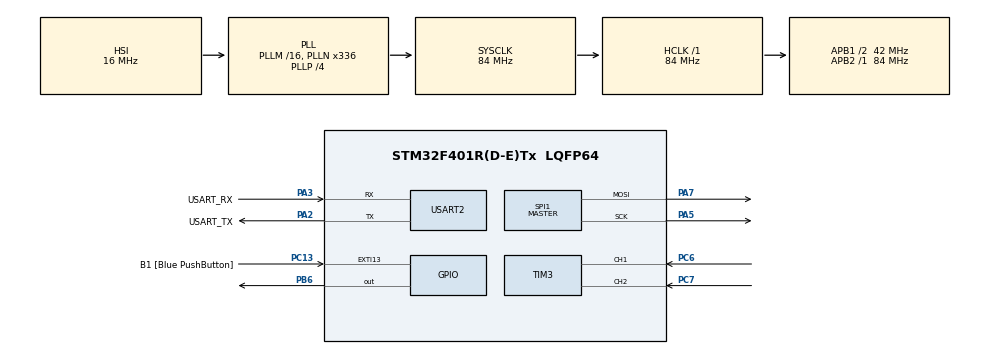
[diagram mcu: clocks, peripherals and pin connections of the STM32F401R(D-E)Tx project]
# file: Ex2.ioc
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Dma.Request0=SPI1_TX
Dma.SPI1_TX.0.Direction=DMA_MEMORY_TO_PERIPH
Dma.SPI1_TX.0.FIFOMode=DMA_FIFOMODE_DISABLE
Dma.SPI1_TX.0.Instance=DMA2_Stream3
Dma.SPI1_TX.0.MemDataAlignment=DMA_MDATAALIGN_BYTE
Dma.SPI1_TX.0.MemInc=DMA_MINC_ENABLE
Dma.SPI1_TX.0.Mode=DMA_NORMAL
Dma.SPI1_TX.0.PeriphDataAlignment=DMA_PDATAALIGN_BYTE
Dma.SPI1_TX.0.PeriphInc=DMA_PINC_DISABLE
Dma.SPI1_TX.0.Priority=DMA_PRIORITY_LOW
Mcu.Family=STM32F4
Mcu.Name=STM32F401R(D-E)Tx
Mcu.Package=LQFP64
NVIC.DMA2_Stream3_IRQn=true\:0\:0\:false\:false\:true\:false\:true\:true
NVIC.PriorityGroup=NVIC_PRIORITYGROUP_0
NVIC.TIM1_TRG_COM_TIM11_IRQn=true\:0\:1\:false\:false\:true\:true\:true\:true
NVIC.TIM1_UP_TIM10_IRQn=true\:0\:0\:false\:false\:true\:true\:true\:true
PA13.GPIO_Label=TMS
PA13.Mode=Serial_Wire
PA13.Signal=SYS_JTMS-SWDIO
PA14.GPIO_Label=TCK
PA14.Mode=Serial_Wire
PA14.Signal=SYS_JTCK-SWCLK
PA2.GPIO_Label=USART_TX
PA2.GPIO_Mode=GPIO_MODE_AF_PP
PA2.GPIO_PuPd=GPIO_NOPULL
PA2.GPIO_Speed=GPIO_SPEED_FREQ_LOW
PA2.Mode=Asynchronous
PA2.Signal=USART2_TX
PA3.GPIO_Label=USART_RX
PA3.GPIO_Mode=GPIO_MODE_AF_PP
PA3.GPIO_PuPd=GPIO_NOPULL
PA3.GPIO_Speed=GPIO_SPEED_FREQ_LOW
PA3.Mode=Asynchronous
PA3.Signal=USART2_RX
PA5.Mode=TX_Only_Simplex_Unidirect_Master
PA5.Signal=SPI1_SCK
PA7.Mode=TX_Only_Simplex_Unidirect_Master
PA7.Signal=SPI1_MOSI
PB3.GPIO_Label=SWO
PB3.Signal=SYS_JTDO-SWO
PB6.Signal=GPIO_Output
PC13-ANTI_TAMP.GPIO_Label=B1 [Blue PushButton]
PC13-ANTI_TAMP.GPIO_ModeDefaultEXTI=GPIO_MODE_IT_FALLING
PC13-ANTI_TAMP.GPIO_PuPd=GPIO_NOPULL
PC13-ANTI_TAMP.Signal=GPXTI13
PC14-OSC32_IN.Mode=LSE-External-Oscillator
PC14-OSC32_IN.Signal=RCC_OSC32_IN
PC15-OSC32_OUT.Mode=LSE-External-Oscillator
PC15-OSC32_OUT.Signal=RCC_OSC32_OUT
PC6.Signal=S_TIM3_CH1
PC7.Signal=S_TIM3_CH2
PH0\ -\ OSC_IN.Mode=HSE-External-Clock-Source
PH0\ -\ OSC_IN.Signal=RCC_OSC_IN
PH1\ -\ OSC_OUT.Mode=HSE-External-Clock-Source
PH1\ -\ OSC_OUT.Signal=RCC_OSC_OUT
ProjectManager.HeapSize=0x200
ProjectManager.StackSize=0x400
ProjectManager.TargetToolchain=STM32CubeIDE
RCC.48MHZClocksFreq_Value=48000000
RCC.AHBFreq_Value=84000000
RCC.APB1CLKDivider=RCC_HCLK_DIV2
RCC.APB1Freq_Value=42000000
RCC.APB1TimFreq_Value=84000000
RCC.APB2Freq_Value=84000000
RCC.APB2TimFreq_Value=84000000
RCC.CortexFreq_Value=84000000
RCC.HCLKFreq_Value=84000000
RCC.HSE_VALUE=8000000
RCC.HSI_VALUE=16000000
RCC.PLLN=336
RCC.PLLP=RCC_PLLP_DIV4
RCC.PLLQ=7
RCC.SYSCLKFreq_VALUE=84000000
RCC.SYSCLKSource=RCC_SYSCLKSOURCE_PLLCLK
RCC.VCOOutputFreq_Value=336000000
SH.S_TIM3_CH1.0=TIM3_CH1,Encoder_Interface
SH.S_TIM3_CH2.0=TIM3_CH2,Encoder_Interface
SPI1.BaudRatePrescaler=SPI_BAUDRATEPRESCALER_4
SPI1.Direction=SPI_DIRECTION_2LINES
SPI1.Mode=SPI_MODE_MASTER
SPI1.VirtualType=VM_MASTER
TIM10.Period=4000-1
TIM10.Prescaler=84-1
TIM11.Period=10000-1
TIM11.Prescaler=8400-1
USART2.VirtualMode=VM_ASYNC
VP_TIM10_VS_ClockSourceINT.Mode=Enable_Timer
VP_TIM11_VS_ClockSourceINT.Mode=Enable_Timer
board=NUCLEO-F401RE

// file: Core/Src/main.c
/* USER CODE BEGIN Header */
/**
  ******************************************************************************
  * @file           : main.c
  * @brief          : Main program body
  ******************************************************************************
  * @attention
  *
  * Copyright (c) 2023 STMicroelectronics.
  * All rights reserved.
  *
  * This software is licensed under terms that can be found in the LICENSE file
  * in the root directory of this software component.
  * If no LICENSE file comes with this software, it is provided AS-IS.
  *
  ******************************************************************************
  */
/* USER CODE END Header */
#include "main.h"

/* USER CODE BEGIN PD */
#define RCLK_PIN GPIOB, GPIO_PIN_6
/* USER CODE END PD */

SPI_HandleTypeDef hspi1;
DMA_HandleTypeDef hdma_spi1_tx;

TIM_HandleTypeDef htim3;
TIM_HandleTypeDef htim10;
TIM_HandleTypeDef htim11;

UART_HandleTypeDef huart2;

/* USER CODE BEGIN PV */
int column_index=0;
uint8_t matrix[5][2]={
		{8,16},
		{8,8},
		{127,4},
		{8,2},
		{8,1}
};
uint8_t matrix_zero[5][2]={
	{0,16},
	{0,8},
	{0,4},
	{0,2},
	{0,1}
};
uint8_t matrix_plus[5][2]={
		{8,16},
		{8,8},
		{127,4},
		{8,2},
		{8,1}
};
uint8_t matrix_minus[5][2]={
		{8,16},
		{8,8},
		{8,4},
		{8,2},
		{8,1}
};

int i=0;
int switch_letter=0;
/* USER CODE END PV */

void SystemClock_Config(void);
static void MX_GPIO_Init(void);
static void MX_DMA_Init(void);
static void MX_USART2_UART_Init(void);
static void MX_SPI1_Init(void);
static void MX_TIM10_Init(void);
static void MX_TIM11_Init(void);
static void MX_TIM3_Init(void);
/* USER CODE BEGIN PFP */
void HAL_TIM_PeriodElapsedCallback(TIM_HandleTypeDef *htim){
	if(htim==&htim10)
		HAL_SPI_Transmit_DMA(&hspi1, matrix[column_index], 2);
	if(htim==&htim11)
		switch_letter=1;
}
void HAL_SPI_TxCpltCallback(SPI_HandleTypeDef *hspi){
	if(hspi==&hspi1){
		HAL_GPIO_WritePin(RCLK_PIN, GPIO_PIN_SET);
		if(++column_index>4)
			column_index=0;
		HAL_GPIO_WritePin(RCLK_PIN, GPIO_PIN_RESET);
	}
}
/* USER CODE END PFP */

int main(void)
{

  /* MCU Configuration--------------------------------------------------------*/

  /* Reset of all peripherals, Initializes the Flash interface and the Systick. */
  HAL_Init();

  /* Configure the system clock */
  SystemClock_Config();

  /* Initialize all configured peripherals */
  MX_GPIO_Init();
  MX_DMA_Init();
  MX_USART2_UART_Init();
  MX_SPI1_Init();
  MX_TIM10_Init();
  MX_TIM11_Init();
  MX_TIM3_Init();
  /* USER CODE BEGIN 2 */
  HAL_TIM_Base_Start_IT(&htim10);
  HAL_TIM_Base_Start_IT(&htim11);

  HAL_TIM_Encoder_Start(&htim3, TIM_CHANNEL_1);
  HAL_TIM_Encoder_Start(&htim3, TIM_CHANNEL_2);

  char message[32];
  int len = 0;

  int old = 0;
  int delta = 0;
  int new = 0;
  float rpm = 0;
  /* USER CODE END 2 */

  /* Infinite loop */
  /* USER CODE BEGIN WHILE */
  while (1)
  {
	  new =  __HAL_TIM_GET_COUNTER(&htim3);
	  delta = new - old;
	  if(delta > 32768) {
		  delta = -65535;
	  } else if(delta < -32768) {
		  delta = 65535;
	  }
	  rpm = delta / 24.0;
	  rpm *= 60;
	  if(rpm>0){
			memcpy(matrix, matrix_plus, sizeof(matrix));
	  }else if(rpm<0){
		  memcpy(matrix, matrix_minus, sizeof(matrix));
	  }else{
		  memcpy(matrix, matrix_zero, sizeof(matrix));
	  }
	  old = new;
	  HAL_Delay(100);
    /* USER CODE END WHILE */

  }
}

void SystemClock_Config(void)
{
  RCC_OscInitTypeDef RCC_OscInitStruct = {0};
  RCC_ClkInitTypeDef RCC_ClkInitStruct = {0};

  /** Configure the main internal regulator output voltage
  */
  __HAL_RCC_PWR_CLK_ENABLE();
  __HAL_PWR_VOLTAGESCALING_CONFIG(PWR_REGULATOR_VOLTAGE_SCALE2);

  /** Initializes the RCC Oscillators according to the specified parameters
  * in the RCC_OscInitTypeDef structure.
  */
  RCC_OscInitStruct.OscillatorType = RCC_OSCILLATORTYPE_HSI;
  RCC_OscInitStruct.HSIState = RCC_HSI_ON;
  RCC_OscInitStruct.HSICalibrationValue = RCC_HSICALIBRATION_DEFAULT;
  RCC_OscInitStruct.PLL.PLLState = RCC_PLL_ON;
  RCC_OscInitStruct.PLL.PLLSource = RCC_PLLSOURCE_HSI;
  RCC_OscInitStruct.PLL.PLLM = 16;
  RCC_OscInitStruct.PLL.PLLN = 336;
  RCC_OscInitStruct.PLL.PLLP = RCC_PLLP_DIV4;
  RCC_OscInitStruct.PLL.PLLQ = 7;
  if (HAL_RCC_OscConfig(&RCC_OscInitStruct) != HAL_OK)
  {
    Error_Handler();
  }

  /** Initializes the CPU, AHB and APB buses clocks
  */
  RCC_ClkInitStruct.ClockType = RCC_CLOCKTYPE_HCLK|RCC_CLOCKTYPE_SYSCLK
                              |RCC_CLOCKTYPE_PCLK1|RCC_CLOCKTYPE_PCLK2;
  RCC_ClkInitStruct.SYSCLKSource = RCC_SYSCLKSOURCE_PLLCLK;
  RCC_ClkInitStruct.AHBCLKDivider = RCC_SYSCLK_DIV1;
  RCC_ClkInitStruct.APB1CLKDivider = RCC_HCLK_DIV2;
  RCC_ClkInitStruct.APB2CLKDivider = RCC_HCLK_DIV1;

  if (HAL_RCC_ClockConfig(&RCC_ClkInitStruct, FLASH_LATENCY_2) != HAL_OK)
  {
    Error_Handler();
  }
}

static void MX_SPI1_Init(void)
{

  /* SPI1 parameter configuration*/
  hspi1.Instance = SPI1;
  hspi1.Init.Mode = SPI_MODE_MASTER;
  hspi1.Init.Direction = SPI_DIRECTION_2LINES;
  hspi1.Init.DataSize = SPI_DATASIZE_8BIT;
  hspi1.Init.CLKPolarity = SPI_POLARITY_LOW;
  hspi1.Init.CLKPhase = SPI_PHASE_1EDGE;
  hspi1.Init.NSS = SPI_NSS_SOFT;
  hspi1.Init.BaudRatePrescaler = SPI_BAUDRATEPRESCALER_4;
  hspi1.Init.FirstBit = SPI_FIRSTBIT_MSB;
  hspi1.Init.TIMode = SPI_TIMODE_DISABLE;
  hspi1.Init.CRCCalculation = SPI_CRCCALCULATION_DISABLE;
  hspi1.Init.CRCPolynomial = 10;
  if (HAL_SPI_Init(&hspi1) != HAL_OK)
  {
    Error_Handler();
  }

}

static void MX_TIM3_Init(void)
{

  TIM_Encoder_InitTypeDef sConfig = {0};
  TIM_MasterConfigTypeDef sMasterConfig = {0};

  htim3.Instance = TIM3;
  htim3.Init.Prescaler = 0;
  htim3.Init.CounterMode = TIM_COUNTERMODE_UP;
  htim3.Init.Period = 65535;
  htim3.Init.ClockDivision = TIM_CLOCKDIVISION_DIV1;
  htim3.Init.AutoReloadPreload = TIM_AUTORELOAD_PRELOAD_DISABLE;
  sConfig.EncoderMode = TIM_ENCODERMODE_TI1;
  sConfig.IC1Polarity = TIM_ICPOLARITY_RISING;
  sConfig.IC1Selection = TIM_ICSELECTION_DIRECTTI;
  sConfig.IC1Prescaler = TIM_ICPSC_DIV1;
  sConfig.IC1Filter = 0;
  sConfig.IC2Polarity = TIM_ICPOLARITY_RISING;
  sConfig.IC2Selection = TIM_ICSELECTION_DIRECTTI;
  sConfig.IC2Prescaler = TIM_ICPSC_DIV1;
  sConfig.IC2Filter = 0;
  if (HAL_TIM_Encoder_Init(&htim3, &sConfig) != HAL_OK)
  {
    Error_Handler();
  }
  sMasterConfig.MasterOutputTrigger = TIM_TRGO_RESET;
  sMasterConfig.MasterSlaveMode = TIM_MASTERSLAVEMODE_DISABLE;
  if (HAL_TIMEx_MasterConfigSynchronization(&htim3, &sMasterConfig) != HAL_OK)
  {
    Error_Handler();
  }

}

static void MX_TIM10_Init(void)
{

  htim10.Instance = TIM10;
  htim10.Init.Prescaler = 84-1;
  htim10.Init.CounterMode = TIM_COUNTERMODE_UP;
  htim10.Init.Period = 4000-1;
  htim10.Init.ClockDivision = TIM_CLOCKDIVISION_DIV1;
  htim10.Init.AutoReloadPreload = TIM_AUTORELOAD_PRELOAD_DISABLE;
  if (HAL_TIM_Base_Init(&htim10) != HAL_OK)
  {
    Error_Handler();
  }

}

static void MX_TIM11_Init(void)
{

  htim11.Instance = TIM11;
  htim11.Init.Prescaler = 8400-1;
  htim11.Init.CounterMode = TIM_COUNTERMODE_UP;
  htim11.Init.Period = 10000-1;
  htim11.Init.ClockDivision = TIM_CLOCKDIVISION_DIV1;
  htim11.Init.AutoReloadPreload = TIM_AUTORELOAD_PRELOAD_DISABLE;
  if (HAL_TIM_Base_Init(&htim11) != HAL_OK)
  {
    Error_Handler();
  }

}

static void MX_USART2_UART_Init(void)
{

  huart2.Instance = USART2;
  huart2.Init.BaudRate = 115200;
  huart2.Init.WordLength = UART_WORDLENGTH_8B;
  huart2.Init.StopBits = UART_STOPBITS_1;
  huart2.Init.Parity = UART_PARITY_NONE;
  huart2.Init.Mode = UART_MODE_TX_RX;
  huart2.Init.HwFlowCtl = UART_HWCONTROL_NONE;
  huart2.Init.OverSampling = UART_OVERSAMPLING_16;
  if (HAL_UART_Init(&huart2) != HAL_OK)
  {
    Error_Handler();
  }

}

static void MX_DMA_Init(void)
{

  /* DMA controller clock enable */
  __HAL_RCC_DMA2_CLK_ENABLE();

  /* DMA interrupt init */
  /* DMA2_Stream3_IRQn interrupt configuration */
  HAL_NVIC_SetPriority(DMA2_Stream3_IRQn, 0, 0);
  HAL_NVIC_EnableIRQ(DMA2_Stream3_IRQn);

}

static void MX_GPIO_Init(void)
{
  GPIO_InitTypeDef GPIO_InitStruct = {0};

  /* GPIO Ports Clock Enable */
  __HAL_RCC_GPIOC_CLK_ENABLE();
  __HAL_RCC_GPIOH_CLK_ENABLE();
  __HAL_RCC_GPIOA_CLK_ENABLE();
  __HAL_RCC_GPIOB_CLK_ENABLE();

  /*Configure GPIO pin Output Level */
  HAL_GPIO_WritePin(GPIOB, GPIO_PIN_6, GPIO_PIN_RESET);

  /*Configure GPIO pin : B1_Pin */
  GPIO_InitStruct.Pin = B1_Pin;
  GPIO_InitStruct.Mode = GPIO_MODE_IT_FALLING;
  GPIO_InitStruct.Pull = GPIO_NOPULL;
  HAL_GPIO_Init(B1_GPIO_Port, &GPIO_InitStruct);

  /*Configure GPIO pin : PB6 */
  GPIO_InitStruct.Pin = GPIO_PIN_6;
  GPIO_InitStruct.Mode = GPIO_MODE_OUTPUT_PP;
  GPIO_InitStruct.Pull = GPIO_NOPULL;
  GPIO_InitStruct.Speed = GPIO_SPEED_FREQ_LOW;
  HAL_GPIO_Init(GPIOB, &GPIO_InitStruct);

}

void Error_Handler(void)
{
  __disable_irq();
  while (1)
  {
  }
}
